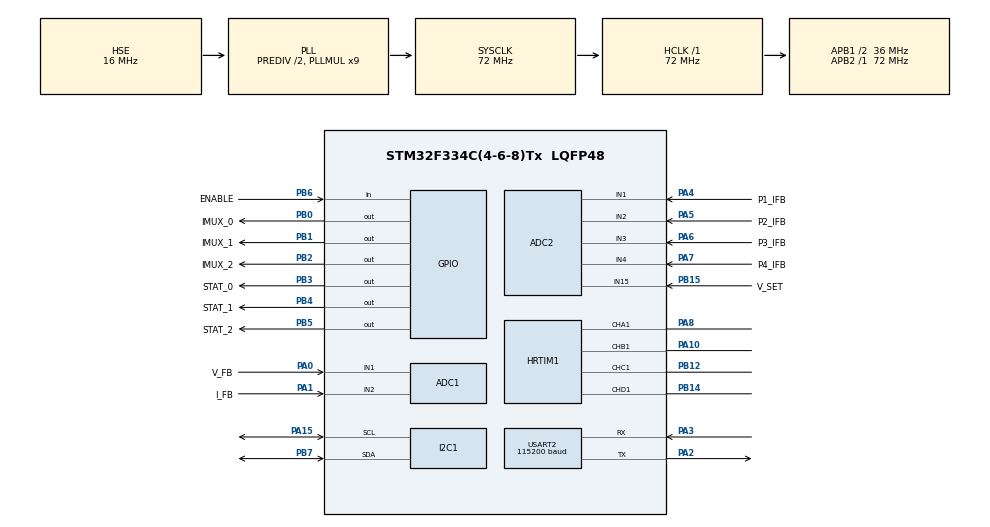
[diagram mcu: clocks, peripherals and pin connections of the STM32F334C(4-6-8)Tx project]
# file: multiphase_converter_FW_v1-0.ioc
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ADC1.Channel-10\#ChannelRegularConversion=ADC_CHANNEL_2
ADC1.Channel-9\#ChannelRegularConversion=ADC_CHANNEL_1
ADC1.ClockPrescaler=ADC_CLOCK_ASYNC_DIV1
ADC1.DMAContinuousRequests=ENABLE
ADC1.DiscontinuousConvMode=ENABLE
ADC1.EOCSelection=ADC_EOC_SEQ_CONV
ADC1.EnableInjectedConversion=DISABLE
ADC1.EnableRegularConversion=ENABLE
ADC1.ExternalTrigConv=ADC_EXTERNALTRIGCONVHRTIM_TRG1
ADC1.Mode=ADC_MODE_INDEPENDENT
ADC1.NbrOfConversion=2
ADC1.NbrOfConversionFlag=1
ADC1.Offset-10\#ChannelRegularConversion=0
ADC1.Offset-9\#ChannelRegularConversion=0
ADC1.OffsetNumber-10\#ChannelRegularConversion=ADC_OFFSET_NONE
ADC1.OffsetNumber-9\#ChannelRegularConversion=ADC_OFFSET_NONE
ADC1.Rank-10\#ChannelRegularConversion=2
ADC1.Rank-9\#ChannelRegularConversion=1
ADC1.SamplingTime-10\#ChannelRegularConversion=ADC_SAMPLETIME_1CYCLE_5
ADC1.SamplingTime-9\#ChannelRegularConversion=ADC_SAMPLETIME_1CYCLE_5
ADC1.SubFamily=STM32F334x8
ADC1.master=1
ADC2.Channel-0\#ChannelRegularConversion=ADC_CHANNEL_1
ADC2.Channel-1\#ChannelRegularConversion=ADC_CHANNEL_2
ADC2.Channel-2\#ChannelRegularConversion=ADC_CHANNEL_3
ADC2.Channel-3\#ChannelRegularConversion=ADC_CHANNEL_4
ADC2.Channel-4\#ChannelRegularConversion=ADC_CHANNEL_15
ADC2.ContinuousConvMode=DISABLE
ADC2.DMAContinuousRequests=ENABLE
ADC2.DiscontinuousConvMode=ENABLE
ADC2.EOCSelection=ADC_EOC_SEQ_CONV
ADC2.EnableInjectedConversion=DISABLE
ADC2.ExternalTrigConv=ADC_EXTERNALTRIGCONVHRTIM_TRG3
ADC2.NbrOfConversion=5
ADC2.NbrOfConversionFlag=1
ADC2.Offset-0\#ChannelRegularConversion=0
ADC2.Offset-1\#ChannelRegularConversion=0
ADC2.Offset-2\#ChannelRegularConversion=0
ADC2.Offset-3\#ChannelRegularConversion=0
ADC2.Offset-4\#ChannelRegularConversion=0
ADC2.OffsetNumber-0\#ChannelRegularConversion=ADC_OFFSET_NONE
ADC2.OffsetNumber-1\#ChannelRegularConversion=ADC_OFFSET_NONE
ADC2.OffsetNumber-2\#ChannelRegularConversion=ADC_OFFSET_NONE
ADC2.OffsetNumber-3\#ChannelRegularConversion=ADC_OFFSET_NONE
ADC2.OffsetNumber-4\#ChannelRegularConversion=ADC_OFFSET_NONE
ADC2.Rank-0\#ChannelRegularConversion=1
ADC2.Rank-1\#ChannelRegularConversion=2
ADC2.Rank-2\#ChannelRegularConversion=3
ADC2.Rank-3\#ChannelRegularConversion=4
ADC2.Rank-4\#ChannelRegularConversion=5
ADC2.SamplingTime-0\#ChannelRegularConversion=ADC_SAMPLETIME_1CYCLE_5
ADC2.SamplingTime-1\#ChannelRegularConversion=ADC_SAMPLETIME_1CYCLE_5
ADC2.SamplingTime-2\#ChannelRegularConversion=ADC_SAMPLETIME_1CYCLE_5
ADC2.SamplingTime-3\#ChannelRegularConversion=ADC_SAMPLETIME_1CYCLE_5
ADC2.SamplingTime-4\#ChannelRegularConversion=ADC_SAMPLETIME_1CYCLE_5
ADC2.SamplingTimeOPAMP-1\#ChannelRegularConversion=ADC_SAMPLETIME_61CYCLES_5
ADC2.SamplingTimeOPAMP-2\#ChannelRegularConversion=ADC_SAMPLETIME_61CYCLES_5
ADC2.SamplingTimeOPAMP-3\#ChannelRegularConversion=ADC_SAMPLETIME_61CYCLES_5
ADC2.SamplingTimeOPAMP-4\#ChannelRegularConversion=ADC_SAMPLETIME_61CYCLES_5
ADC2.SubFamily=STM32F334x8
Dma.ADC1.0.Direction=DMA_PERIPH_TO_MEMORY
Dma.ADC1.0.Instance=DMA1_Channel1
Dma.ADC1.0.MemDataAlignment=DMA_MDATAALIGN_WORD
Dma.ADC1.0.MemInc=DMA_MINC_ENABLE
Dma.ADC1.0.Mode=DMA_CIRCULAR
Dma.ADC1.0.PeriphDataAlignment=DMA_PDATAALIGN_WORD
Dma.ADC1.0.PeriphInc=DMA_PINC_DISABLE
Dma.ADC1.0.Priority=DMA_PRIORITY_LOW
Dma.ADC2.1.Direction=DMA_PERIPH_TO_MEMORY
Dma.ADC2.1.Instance=DMA1_Channel2
Dma.ADC2.1.MemDataAlignment=DMA_MDATAALIGN_WORD
Dma.ADC2.1.MemInc=DMA_MINC_ENABLE
Dma.ADC2.1.Mode=DMA_CIRCULAR
Dma.ADC2.1.PeriphDataAlignment=DMA_PDATAALIGN_WORD
Dma.ADC2.1.PeriphInc=DMA_PINC_DISABLE
Dma.ADC2.1.Priority=DMA_PRIORITY_LOW
Dma.Request0=ADC1
Dma.Request1=ADC2
HRTIM1.ADCTrigger1_Source1=HRTIM_ADCTRIGGEREVENT13_MASTER_CMP4
HRTIM1.ADCTrigger3_Source1=HRTIM_ADCTRIGGEREVENT13_MASTER_PERIOD
HRTIM1.ADCTrigger_Id1=HRTIM_ADCTRIGGER_1
HRTIM1.ADCTrigger_Id3=HRTIM_ADCTRIGGER_3
HRTIM1.CalibrationRate_nonIT=HRTIM_CALIBRATIONRATE_7300
HRTIM1.CompareUnit1-MasterTimer=HRTIM_COMPAREUNIT_1
HRTIM1.CompareUnit1-Output_TA1=HRTIM_COMPAREUNIT_1
HRTIM1.CompareUnit1-Output_TB1=HRTIM_COMPAREUNIT_1
HRTIM1.CompareUnit1-Output_TC1=HRTIM_COMPAREUNIT_1
HRTIM1.CompareUnit1-Output_TD1=HRTIM_COMPAREUNIT_1
HRTIM1.CompareUnit2-MasterTimer=HRTIM_COMPAREUNIT_2
HRTIM1.CompareUnit2-Output_TA1=HRTIM_COMPAREUNIT_2
HRTIM1.CompareUnit3-MasterTimer=HRTIM_COMPAREUNIT_3
HRTIM1.CompareUnit4-MasterTimer=HRTIM_COMPAREUNIT_4
HRTIM1.CompareValue1-MasterTimer=256
HRTIM1.CompareValue1-Output_TA1=0x1fff
HRTIM1.CompareValue1-Output_TB1=0x1FFF
HRTIM1.CompareValue1-Output_TC1=0x1FFF
HRTIM1.CompareValue1-Output_TD1=0x1FFF
HRTIM1.CompareValue2-MasterTimer=512
HRTIM1.CompareValue2-Output_TA1=0x2FFF
HRTIM1.CompareValue3-MasterTimer=768
HRTIM1.CompareValue4-MasterTimer=1024
HRTIM1.InterruptRequests1-Output_TA1=HRTIM_TIM_IT_CMP2
HRTIM1.InterruptRequests1_Master=HRTIM_MASTER_IT_MREP
HRTIM1.ModeTimeBase-Output_TA1=HRTIM_MODE_SINGLESHOT_RETRIGGERABLE
HRTIM1.ModeTimeBase-Output_TB1=HRTIM_MODE_SINGLESHOT_RETRIGGERABLE
HRTIM1.ModeTimeBase-Output_TC1=HRTIM_MODE_SINGLESHOT_RETRIGGERABLE
HRTIM1.ModeTimeBase-Output_TD1=HRTIM_MODE_SINGLESHOT_RETRIGGERABLE
HRTIM1.NumberADCTriggerSource1=1
HRTIM1.NumberADCTriggerSource3=1
HRTIM1.NumberInterruptRequests-Output_TA1=0
HRTIM1.NumberInterruptRequests_Master-MasterTimer=1
HRTIM1.NumberResetSource1-Output_TA1=1
HRTIM1.NumberResetSource1-Output_TB1=1
HRTIM1.NumberResetSource1-Output_TC1=1
HRTIM1.NumberResetSource1-Output_TD1=1
HRTIM1.NumberResetTrigger-Output_TA1=1
HRTIM1.NumberResetTrigger-Output_TB1=1
HRTIM1.NumberResetTrigger-Output_TC1=1
HRTIM1.NumberResetTrigger-Output_TD1=1
HRTIM1.NumberSetSource1-Output_TA1=1
HRTIM1.NumberSetSource1-Output_TB1=1
HRTIM1.NumberSetSource1-Output_TC1=1
HRTIM1.NumberSetSource1-Output_TD1=1
HRTIM1.NumberUpdateTrigger-Output_TA1=1
HRTIM1.NumberUpdateTrigger-Output_TB1=1
HRTIM1.NumberUpdateTrigger-Output_TC1=1
HRTIM1.NumberUpdateTrigger-Output_TD1=1
HRTIM1.ORingUpdateSource_ADCTrigger1=HRTIM_ADCTRIGGERUPDATE_MASTER
HRTIM1.Periode_MASTER=0x3fff
HRTIM1.Periode_TA=0x3fff
HRTIM1.Periode_TB=0x3fff
HRTIM1.Periode_TC=0x3fff
HRTIM1.Periode_TD=0x3fff
HRTIM1.PreloadEnable-MasterTimer=HRTIM_PRELOAD_ENABLED
HRTIM1.PreloadEnable-Output_TA1=HRTIM_PRELOAD_ENABLED
HRTIM1.PreloadEnable-Output_TB1=HRTIM_PRELOAD_DISABLED
HRTIM1.PreloadEnable-Output_TC1=HRTIM_PRELOAD_DISABLED
HRTIM1.PreloadEnable-Output_TD1=HRTIM_PRELOAD_DISABLED
HRTIM1.PrescalerRatio_MASTER=HRTIM_PRESCALERRATIO_MUL32
HRTIM1.RepetitionCounter-MasterTimer=16
HRTIM1.RepetitionCounter-Output_TA1=0
HRTIM1.RepetitionCounter-Output_TB1=0
HRTIM1.RepetitionCounter-Output_TC1=0
HRTIM1.RepetitionCounter-Output_TD1=0
HRTIM1.RepetitionUpdate-MasterTimer=HRTIM_UPDATEONREPETITION_ENABLED
HRTIM1.RepetitionUpdate-Output_TA1=HRTIM_UPDATEONREPETITION_DISABLED
HRTIM1.RepetitionUpdate-Output_TB1=HRTIM_UPDATEONREPETITION_DISABLED
HRTIM1.RepetitionUpdate-Output_TC1=HRTIM_UPDATEONREPETITION_DISABLED
HRTIM1.RepetitionUpdate-Output_TD1=HRTIM_UPDATEONREPETITION_DISABLED
HRTIM1.ResetOutput1_Source1-Output_TA1=HRTIM_OUTPUTRESET_TIMCMP1
HRTIM1.ResetOutput1_Source1-Output_TB1=HRTIM_OUTPUTRESET_TIMCMP1
HRTIM1.ResetOutput1_Source1-Output_TC1=HRTIM_OUTPUTRESET_TIMCMP1
HRTIM1.ResetOutput1_Source1-Output_TD1=HRTIM_OUTPUTRESET_TIMCMP1
HRTIM1.ResetTrigger1-Output_TA1=HRTIM_TIMRESETTRIGGER_MASTER_PER
HRTIM1.ResetTrigger1-Output_TB1=HRTIM_TIMRESETTRIGGER_MASTER_CMP1
HRTIM1.ResetTrigger1-Output_TC1=HRTIM_TIMRESETTRIGGER_MASTER_CMP2
HRTIM1.ResetTrigger1-Output_TD1=HRTIM_TIMRESETTRIGGER_MASTER_CMP3
HRTIM1.SetOutput1_Source1-Output_TA1=HRTIM_OUTPUTSET_MASTERPER
HRTIM1.SetOutput1_Source1-Output_TB1=HRTIM_OUTPUTSET_MASTERCMP1
HRTIM1.SetOutput1_Source1-Output_TC1=HRTIM_OUTPUTSET_MASTERCMP2
HRTIM1.SetOutput1_Source1-Output_TD1=HRTIM_OUTPUTSET_MASTERCMP3
HRTIM1.UpdateTrigger1-Output_TA1=HRTIM_TIMUPDATETRIGGER_MASTER
HRTIM1.UpdateTrigger1-Output_TB1=HRTIM_TIMUPDATETRIGGER_MASTER
HRTIM1.UpdateTrigger1-Output_TC1=HRTIM_TIMUPDATETRIGGER_MASTER
HRTIM1.UpdateTrigger1-Output_TD1=HRTIM_TIMUPDATETRIGGER_MASTER
I2C1.OwnAddress=0x5A
Mcu.Family=STM32F3
Mcu.Name=STM32F334C(4-6-8)Tx
Mcu.Package=LQFP48
NVIC.ADC1_2_IRQn=true\:0\:0\:false\:false\:true\:true\:true
NVIC.DMA1_Channel1_IRQn=true\:0\:0\:false\:false\:true\:false\:true
NVIC.DMA1_Channel2_IRQn=true\:0\:0\:false\:false\:true\:false\:true
NVIC.HRTIM1_Master_IRQn=true\:0\:0\:false\:false\:true\:true\:true
NVIC.HRTIM1_TIMA_IRQn=true\:0\:0\:false\:false\:true\:true\:true
NVIC.I2C1_EV_IRQn=true\:0\:0\:false\:false\:true\:true\:true
NVIC.PriorityGroup=NVIC_PRIORITYGROUP_4
NVIC.TIM1_UP_TIM16_IRQn=true\:0\:0\:false\:false\:true\:false\:true
NVIC.TimeBase=TIM1_UP_TIM16_IRQn
NVIC.TimeBaseIP=TIM1
NVIC.USART2_IRQn=true\:0\:0\:false\:false\:true\:true\:true
PA0.GPIO_Label=V_FB
PA0.Mode=IN1-Single-Ended
PA0.Signal=ADC1_IN1
PA1.GPIO_Label=I_FB
PA1.Mode=IN2-Single-Ended
PA1.Signal=ADC1_IN2
PA10.Mode=Output_TB1
PA10.Signal=HRTIM1_CHB1
PA13.Mode=Serial_Wire
PA13.Signal=SYS_JTMS-SWDIO
PA14.Mode=Serial_Wire
PA14.Signal=SYS_JTCK-SWCLK
PA15.Mode=I2C
PA15.Signal=I2C1_SCL
PA2.Mode=Asynchronous
PA2.Signal=USART2_TX
PA3.Mode=Asynchronous
PA3.Signal=USART2_RX
PA4.GPIO_Label=P1_IFB
PA4.Mode=IN1-Single-Ended
PA4.Signal=ADC2_IN1
PA5.GPIO_Label=P2_IFB
PA5.Mode=IN2-Single-Ended
PA5.Signal=ADC2_IN2
PA6.GPIO_Label=P3_IFB
PA6.Mode=IN3-Single-Ended
PA6.Signal=ADC2_IN3
PA7.GPIO_Label=P4_IFB
PA7.Mode=IN4-Single-Ended
PA7.Signal=ADC2_IN4
PA8.Mode=Output_TA1
PA8.Signal=HRTIM1_CHA1
PB0.GPIO_Label=IMUX_0
PB0.GPIO_Speed=GPIO_SPEED_FREQ_HIGH
PB0.Signal=GPIO_Output
PB1.GPIO_Label=IMUX_1
PB1.GPIO_Speed=GPIO_SPEED_FREQ_HIGH
PB1.Signal=GPIO_Output
PB12.Mode=Output_TC1
PB12.Signal=HRTIM1_CHC1
PB14.Mode=Output_TD1
PB14.Signal=HRTIM1_CHD1
PB15.GPIO_Label=V_SET
PB15.GPIO_PuPd=GPIO_NOPULL
PB15.Mode=IN15-Single-Ended
PB15.Signal=ADC2_IN15
PB2.GPIO_Label=IMUX_2
PB2.GPIO_Speed=GPIO_SPEED_FREQ_HIGH
PB2.Signal=GPIO_Output
PB3.GPIO_Label=STAT_0
PB3.GPIO_Speed=GPIO_SPEED_FREQ_HIGH
PB3.Signal=GPIO_Output
PB4.GPIO_Label=STAT_1
PB4.GPIO_Speed=GPIO_SPEED_FREQ_HIGH
PB4.Signal=GPIO_Output
PB5.GPIO_Label=STAT_2
PB5.GPIO_Speed=GPIO_SPEED_FREQ_HIGH
PB5.Signal=GPIO_Output
PB6.GPIO_Label=ENABLE
PB6.GPIO_PuPd=GPIO_NOPULL
PB6.Signal=GPIO_Input
PB7.Mode=I2C
PB7.Signal=I2C1_SDA
PF0\ /\ OSC_IN.Mode=HSE-External-Oscillator
PF0\ /\ OSC_IN.Signal=RCC_OSC_IN
PF1\ /\ OSC_OUT.Mode=HSE-External-Oscillator
PF1\ /\ OSC_OUT.Signal=RCC_OSC_OUT
ProjectManager.HeapSize=0x200
ProjectManager.StackSize=0x400
ProjectManager.TargetToolchain=Makefile
RCC.AHBFreq_Value=72000000
RCC.APB1CLKDivider=RCC_HCLK_DIV2
RCC.APB1Freq_Value=36000000
RCC.APB1TimFreq_Value=72000000
RCC.APB2Freq_Value=72000000
RCC.APB2TimFreq_Value=72000000
RCC.CortexFreq_Value=72000000
RCC.HCLKFreq_Value=72000000
RCC.HRTIMSelection=RCC_HRTIM1CLK_PLLCLK
RCC.HSE_VALUE=16000000
RCC.HSI_VALUE=8000000
RCC.LSE_VALUE=32768
RCC.PLLMUL=RCC_PLL_MUL9
RCC.PLLSourceVirtual=RCC_PLLSOURCE_HSE
RCC.RCC_PLLsource_Clock_Source_FROM_HSE=RCC_HSE_PREDIV_DIV2
RCC.SYSCLKFreq_VALUE=72000000
RCC.SYSCLKSourceVirtual=RCC_SYSCLKSOURCE_PLLCLK
USART2.BaudRate=115200
USART2.VirtualMode-Asynchronous=VM_ASYNC
VP_HRTIM1_VS_hrtimMasterTimerNoOutput.Mode=MasterTimer
VP_SYS_VS_tim1.Mode=TIM1
board=custom

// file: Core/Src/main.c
/* USER CODE BEGIN Header */
/**
  ******************************************************************************
  * @file           : main.c
  * @brief          : Main program body
  ******************************************************************************
  * @attention
  *
  * <h2><center>&copy; Copyright (c) 2020 STMicroelectronics.
  * All rights reserved.</center></h2>
  *
  * This software component is licensed by ST under BSD 3-Clause license,
  * the "License"; You may not use this file except in compliance with the
  * License. You may obtain a copy of the License at:
  *                        opensource.org/licenses/BSD-3-Clause
  *
  ******************************************************************************
  */
/* USER CODE END Header */
#include "main.h"
#include "adc.h"
#include "dma.h"
#include "hrtim.h"
#include "hrtim.h"
#include "i2c.h"
#include "usart.h"
#include "gpio.h"

/* USER CODE BEGIN Includes */
#include "printf.h"
#include <stdbool.h>
/* USER CODE END Includes */

/* USER CODE BEGIN PD */
#define DEBUG_SIZE                        128
#define START_STATE                       OUTPUT_OFF
#define ADC1_CONVERTEDVALUES_BUFFER_SIZE  ((uint32_t)   2)
#define ADC2_CONVERTEDVALUES_BUFFER_SIZE  ((uint32_t)   5)
#define VREF_MV                           2500
#define VOUT_DIV                          20
#define VOUT_MAX_MV                       50000
#define VOUT_SAMPLE_DEPTH                 4
#define HRTIM_PERIOD                      0x3fff
#define BURST_DUTY_CYCLE                  HRTIM_PERIOD/40
#define MAX_DUTY                          ((HRTIM_PERIOD/2) - 10)
#define MIN_DUTY                          128
#define ADD_PHASE_THRESH                  HRTIM_PERIOD/8
#define ADD_PHASE_CURR_THRESH             2000
#define SHED_PHASE_THRESH                 HRTIM_PERIOD/20
#define SHED_PHASE_CURR_THRESH            1500
#define KP_1                              4
#define KP_2                              KP_1
#define KP_3                              KP_1
#define KP_4                              KP_1
#define KP_LIGHT_LOAD                     100
#define KI_1                              250
#define KI_LIGHT_LOAD                     25000
#define KD_1                              2
#define VINTEG_MAX                        HRTIM_PERIOD*KI_1
#define KP                                30
#define SS_SLOPE_V_PER_S                  50
#define IOUT_SAMPLE_DEPTH                 8
#define IPHASE_SAMPLE_DEPTH               8
#define DEFAULT_V_SET                     12000
#define ALLOWABLE_ERROR                   10

#define VERR_RUNNING_MEAN_SIZE            4

#define I2C_DATA_SIZE                     8
#define I2C_CMD_SET_VOUT                  0x01
#define I2C_CMD_ENABLE_OUTPUT             0x02
#define I2C_CMD_DISABLE_OUTPUT            0x03

/* gains in counts-per-A */
#define IGAIN3                            123
#define IGAIN2                            246
#define IGAIN1                            492
#define IGAIN0                            3686

#define CLAMP(x, a, b)                    (x < a ? a : (x > b ? b : x))

/* USER CODE END PD */

/* USER CODE BEGIN PV */
Mode_TypeDef state = OUTPUT_OFF;
__IO uint32_t adc1_converted_values[ADC1_CONVERTEDVALUES_BUFFER_SIZE];
__IO uint32_t adc2_converted_values[ADC2_CONVERTEDVALUES_BUFFER_SIZE];
volatile bool status_update       = false;
uint32_t ss_tick                  = 0;
volatile int n_phases             = 1; // number of phases enabled
uint32_t vout_sample_buf[VOUT_SAMPLE_DEPTH];
volatile int kp                   = KP_1;
volatile int ki                   = KI_1;
volatile int kd                   = KD_1;
volatile int vinteg               = 0;
volatile int vdelta               = 0;
volatile int vout_sample_ind      = 0;
volatile uint32_t vout_sample_acc = 0;
volatile int verr_acc             = 0;
volatile uint32_t verr_history[VERR_RUNNING_MEAN_SIZE] = {};
volatile int verr_rm_ind          = 0;
volatile uint32_t vout_offset_mv  = 2000;
volatile uint32_t vout_mv         = 0;
volatile uint32_t vset_mv         = 0;
volatile uint32_t target_vset_acc = 0;
volatile int target_vset_count    = 0;
volatile uint32_t target_vset_mv  = DEFAULT_V_SET;
volatile int verr_mv              = 0;
volatile int duty_cycle           = 0;
volatile bool is_enabled          = false;
volatile int i_gain_setting       = 0; // 0 thru 3
volatile uint32_t i_gain          = 0; // i sense gain in counts-per-A
volatile uint32_t iout_ma         = 0;
volatile uint32_t iout_offset_ma  = 0;
volatile uint32_t iout_sample_acc = 0;
volatile int iout_sample_count    = 0;
volatile uint32_t iphase_accs[4]  = {};
volatile uint32_t iphase_meas[4]  = {};
volatile int iphase_sample_count  = 0;
int debug_a_size = 0;
int debug_b_size = 0;
int debug_buf_to_use = 0;
uint8_t debug_buf[DEBUG_SIZE];
uint8_t debug_buf_a[DEBUG_SIZE];
uint8_t debug_buf_b[DEBUG_SIZE];
volatile bool i2c_enabled_status = false;
volatile bool i2c_cmd_rcvd = false;
uint8_t i2c_data[I2C_DATA_SIZE];

/* USER CODE END PV */

void SystemClock_Config(void);
/* USER CODE BEGIN PFP */

void goto_state(uint8_t next_state);
void set_i_gain(uint8_t setting);
void refactor_duty_cycle();
uint32_t map(uint32_t x, uint32_t in_min, uint32_t in_max, uint32_t out_min, uint32_t out_max);
void LED_on(int led);
void LED_off(int led);
void LED_toggle(int led);
void add_sample(uint32_t sample, uint32_t* buf, int* sample_ind, int depth);
void disable_adc_interrupts();
void enable_adc_interrupts();
void disable_hrtim_interrupts();
void enable_hrtim_interrupts();
void debug(char* str);

/* USER CODE END PFP */

int main(void)
{

  /* MCU Configuration--------------------------------------------------------*/

  /* Reset of all peripherals, Initializes the Flash interface and the Systick. */
  HAL_Init();

  /* Configure the system clock */
  SystemClock_Config();

  /* Initialize all configured peripherals */
  MX_GPIO_Init();
  MX_DMA_Init();
  MX_HRTIM1_Init();
  MX_ADC1_Init();
  MX_I2C1_Init();
  MX_USART2_UART_Init();
  MX_ADC2_Init();
  /* USER CODE BEGIN 2 */

  state = START_STATE;
  i_gain_setting = 0;
  set_i_gain(i_gain_setting);

  /* ------------ */
  /* ADC start-up */
  /* ------------ */
  // ADC1
  if(HAL_ADCEx_Calibration_Start(&hadc1, ADC_SINGLE_ENDED) != HAL_OK){
    debug("ADC1 calibration failed. Entering FAULT state.");
    state = FAULT;
  }
  HAL_ADC_Start_DMA(&hadc1, adc1_converted_values, ADC1_CONVERTEDVALUES_BUFFER_SIZE);
  HAL_ADC_Start(&hadc1);

  // ADC2
  if(HAL_ADCEx_Calibration_Start(&hadc2, ADC_SINGLE_ENDED) != HAL_OK){
    debug("ADC2 calibration failed. Entering FAULT state.");
    state = FAULT;
  }
  HAL_ADC_Start_DMA(&hadc2, adc2_converted_values, ADC2_CONVERTEDVALUES_BUFFER_SIZE);
  HAL_ADC_Start(&hadc2);

  /* -------------- */
  /* HRTIM start-up */
  /* -------------- */
  // enable outputs A1, B1, C1, D1
  // HAL_HRTIM_WaveformOutputStart(&hhrtim1, HRTIM_OUTPUT_TA1 | HRTIM_OUTPUT_TB1 | HRTIM_OUTPUT_TC1 | HRTIM_OUTPUT_TD1);

  // start timer master, A, B, C, D
  HAL_HRTIM_WaveformCountStart_IT(&hhrtim1, HRTIM_TIMERID_MASTER | HRTIM_TIMERID_TIMER_A | HRTIM_TIMERID_TIMER_B | HRTIM_TIMERID_TIMER_C | HRTIM_TIMERID_TIMER_D);

  /* ------------------ */
  /* I2C Slave start-up */
  /* ------------------ */
  HAL_I2C_Slave_Receive_IT(&hi2c1, i2c_data, 1); // receive a 1-byte command

  /* USER CODE END 2 */

  /* Infinite loop */
  while (1)
  {

    /* USER CODE BEGIN 3 */

    // DETECT ENABLE SIGNAL
    GPIO_PinState enable_pin = HAL_GPIO_ReadPin(ENABLE_GPIO_Port, ENABLE_Pin);
    if(enable_pin == GPIO_PIN_RESET && !is_enabled){
      debug("Enabling output\r\n");
      LED_on(0);
      is_enabled = true;
      vset_mv = 0;
      ss_tick = HAL_GetTick();
      duty_cycle = MIN_DUTY;
      state = ONE_PHASE_INIT;
    }else if(enable_pin == GPIO_PIN_SET && is_enabled){
      debug("Disabling output\r\n");
      LED_off(0);
      is_enabled = false;
      state = OUTPUT_OFF;
    }

    // main loop state machine
    // mostly for controlling vset_mv
    switch(state){
      case ONE_PHASE_INIT:
      case TWO_PHASE_INIT:
      case THREE_PHASE_INIT:
      case FOUR_PHASE_INIT:
      case ONE_PHASE:
      case TWO_PHASE:
      case THREE_PHASE:
      case FOUR_PHASE:
      case BURST:
      {
        // change vset_mv at a controlled rate

        uint32_t dt = HAL_GetTick() - ss_tick;
        int dv = SS_SLOPE_V_PER_S * dt; // maximum voltage step to take
        int diff = (int)target_vset_mv - (int)vset_mv; // actual difference to make up

        if(diff > dv){
          // increment by maximum step
          vset_mv += dv;
        }else{
          // just add the difference, since its magnitude is less than max step (dv)
          vset_mv += diff;
        }

        ss_tick += dt;
        break;
      }
      case FAULT:{
        // LED 2 SOLID
        LED_on(2);
        break;
      }default:{
        break;
      }
    };

    // PHASE CURRENT CALCULATION
    if(iphase_sample_count >= IPHASE_SAMPLE_DEPTH){
      for(int i = 0; i < n_phases; i++){
        iphase_meas[i] = ((iphase_accs[i] * VREF_MV) / iphase_sample_count) >> 12; // millivolts at the ADC input
        iphase_accs[i] = 0;
      }
      iphase_sample_count = 0;
    }

    // DEBUG OUTPUT
    if(HAL_GetTick()/250 % 2 == 0){
      if(status_update){
        snprintf(debug_buf, DEBUG_SIZE, "V:%6d; Vset:%6d; Target:%6d; Ph:%2d; I:%6d\r\n", vout_mv, vset_mv, target_vset_mv, n_phases, iout_ma);
        debug(debug_buf);
        // snprintf(debug_buf, DEBUG_SIZE, "Vset: %d;\t",vset_mv);
        // debug(debug_buf);
        // snprintf(debug_buf, DEBUG_SIZE, "Target: %d;\t", target_vset_mv);
        // debug(debug_buf);
        // snprintf(debug_buf, DEBUG_SIZE, "Ph: %d\r\n", n_phases);
        // debug(debug_buf);
        status_update = false;
      }
    }else{
      status_update = true;
    }

    // HEARTBEAT
    if(HAL_GetTick()/1000 % 2 == 0){
      LED_on(2);
    }else{
      LED_off(2);
    }

    HAL_Delay(10);
  }
  /* USER CODE END 3 */
}

void SystemClock_Config(void)
{
  RCC_OscInitTypeDef RCC_OscInitStruct = {0};
  RCC_ClkInitTypeDef RCC_ClkInitStruct = {0};
  RCC_PeriphCLKInitTypeDef PeriphClkInit = {0};

  /** Initializes the RCC Oscillators according to the specified parameters
  * in the RCC_OscInitTypeDef structure.
  */
  RCC_OscInitStruct.OscillatorType = RCC_OSCILLATORTYPE_HSI|RCC_OSCILLATORTYPE_HSE;
  RCC_OscInitStruct.HSEState = RCC_HSE_ON;
  RCC_OscInitStruct.HSEPredivValue = RCC_HSE_PREDIV_DIV2;
  RCC_OscInitStruct.HSIState = RCC_HSI_ON;
  RCC_OscInitStruct.HSICalibrationValue = RCC_HSICALIBRATION_DEFAULT;
  RCC_OscInitStruct.PLL.PLLState = RCC_PLL_ON;
  RCC_OscInitStruct.PLL.PLLSource = RCC_PLLSOURCE_HSE;
  RCC_OscInitStruct.PLL.PLLMUL = RCC_PLL_MUL9;
  if (HAL_RCC_OscConfig(&RCC_OscInitStruct) != HAL_OK)
  {
    Error_Handler();
  }
  /** Initializes the CPU, AHB and APB buses clocks
  */
  RCC_ClkInitStruct.ClockType = RCC_CLOCKTYPE_HCLK|RCC_CLOCKTYPE_SYSCLK
                              |RCC_CLOCKTYPE_PCLK1|RCC_CLOCKTYPE_PCLK2;
  RCC_ClkInitStruct.SYSCLKSource = RCC_SYSCLKSOURCE_PLLCLK;
  RCC_ClkInitStruct.AHBCLKDivider = RCC_SYSCLK_DIV1;
  RCC_ClkInitStruct.APB1CLKDivider = RCC_HCLK_DIV2;
  RCC_ClkInitStruct.APB2CLKDivider = RCC_HCLK_DIV1;

  if (HAL_RCC_ClockConfig(&RCC_ClkInitStruct, FLASH_LATENCY_2) != HAL_OK)
  {
    Error_Handler();
  }
  PeriphClkInit.PeriphClockSelection = RCC_PERIPHCLK_HRTIM1|RCC_PERIPHCLK_I2C1
                              |RCC_PERIPHCLK_ADC12;
  PeriphClkInit.Adc12ClockSelection = RCC_ADC12PLLCLK_DIV1;
  PeriphClkInit.I2c1ClockSelection = RCC_I2C1CLKSOURCE_HSI;
  PeriphClkInit.Hrtim1ClockSelection = RCC_HRTIM1CLK_PLLCLK;
  if (HAL_RCCEx_PeriphCLKConfig(&PeriphClkInit) != HAL_OK)
  {
    Error_Handler();
  }
}

/* USER CODE BEGIN 4 */

void HAL_HRTIM_RepetitionEventCallback(HRTIM_HandleTypeDef * hhrtim,
                                              uint32_t TimerIdx)
{
  LED_toggle(1);
  if(TimerIdx == HRTIM_TIMERINDEX_MASTER){

    // only run feedback loop if required
    if(state != OUTPUT_OFF && state != FAULT && state != BURST){
      disable_adc_interrupts();
      refactor_duty_cycle();
      enable_adc_interrupts();
    }

    uint32_t duty = 0; // duty cycle per phase
    // if(n_phases > 0){
    //   duty = duty_cycle / n_phases;
    // }else{
    //   duty = duty_cycle;
    // }
    // clamp per-phase duty cycle
    duty = CLAMP(duty_cycle, MIN_DUTY, MAX_DUTY);

    // BEGIN STATE MACHINE
    switch (state)
    {
    case ONE_PHASE_INIT:{
      n_phases = 1;
      kp = KP_1;
      memset(iphase_accs, 0, sizeof(uint32_t) * n_phases); // phase current accumulator reset
      iphase_sample_count = 0;
      HAL_HRTIM_WaveformOutputStop(&hhrtim1, HRTIM_OUTPUT_TB1 | HRTIM_OUTPUT_TC1 | HRTIM_OUTPUT_TD1);
      hhrtim1.Instance->sTimerxRegs[HRTIM_TIMERINDEX_TIMER_A].CMP1xR = duty;
      hhrtim1.Instance->sMasterRegs.MCMP4R = duty / 2; // ADC interrupt timing, halfway through first phase
      HAL_HRTIM_WaveformOutputStart(&hhrtim1, HRTIM_OUTPUT_TA1);
      state = ONE_PHASE; // goto 1 phase state
      break;

    }case TWO_PHASE_INIT:{
      n_phases = 2;
      kp = KP_2;
      memset(iphase_accs, 0, sizeof(uint32_t) * n_phases); // phase current accumulator reset
      iphase_sample_count = 0;
      HAL_HRTIM_WaveformOutputStop(&hhrtim1, HRTIM_OUTPUT_TC1 | HRTIM_OUTPUT_TD1);
      hhrtim1.Instance->sMasterRegs.MCMP1R = HRTIM_PERIOD / 2; // interrupt to set second phase

      hhrtim1.Instance->sMasterRegs.MCMP4R = duty / 2; // ADC interrupt timing, halfway through first phase
      hhrtim1.Instance->sTimerxRegs[HRTIM_TIMERINDEX_TIMER_A].CMP1xR = duty;
      hhrtim1.Instance->sTimerxRegs[HRTIM_TIMERINDEX_TIMER_B].CMP1xR = duty;
      HAL_HRTIM_WaveformOutputStart(&hhrtim1, HRTIM_OUTPUT_TA1 | HRTIM_OUTPUT_TB1);
      state = TWO_PHASE; // goto 2 phase state
      break;

    }case THREE_PHASE_INIT:{
      n_phases = 3;
      kp = KP_3;
      memset(iphase_accs, 0, sizeof(uint32_t) * n_phases); // phase current accumulator reset
      iphase_sample_count = 0;
      HAL_HRTIM_WaveformOutputStop(&hhrtim1, HRTIM_OUTPUT_TD1);
      hhrtim1.Instance->sMasterRegs.MCMP1R = HRTIM_PERIOD / 3; // interrupt to set second phase
      hhrtim1.Instance->sMasterRegs.MCMP2R = 2 * (HRTIM_PERIOD / 3); // interrupt to set third phase
      hhrtim1.Instance->sMasterRegs.MCMP4R = duty / 2; // ADC interrupt timing, halfway through first phase

      hhrtim1.Instance->sTimerxRegs[HRTIM_TIMERINDEX_TIMER_A].CMP1xR = duty;
      hhrtim1.Instance->sTimerxRegs[HRTIM_TIMERINDEX_TIMER_B].CMP1xR = duty;
      hhrtim1.Instance->sTimerxRegs[HRTIM_TIMERINDEX_TIMER_C].CMP1xR = duty;
      HAL_HRTIM_WaveformOutputStart(&hhrtim1, HRTIM_OUTPUT_TA1 | HRTIM_OUTPUT_TB1 |  HRTIM_OUTPUT_TC1);

      state = THREE_PHASE; // goto 3 phase state
      break;

    }case FOUR_PHASE_INIT:{
      n_phases = 4;
      kp = KP_4;
      memset(iphase_accs, 0, sizeof(uint32_t) * n_phases); // phase current accumulator reset
      iphase_sample_count = 0;
      hhrtim1.Instance->sMasterRegs.MCMP1R = HRTIM_PERIOD / 4; // interrupt to set second phase
      hhrtim1.Instance->sMasterRegs.MCMP2R = 2 * (HRTIM_PERIOD / 4); // interrupt to set third phase
      hhrtim1.Instance->sMasterRegs.MCMP2R = 3 * (HRTIM_PERIOD / 4); // interrupt to set fourth phase
      hhrtim1.Instance->sMasterRegs.MCMP4R = duty / 2; // ADC interrupt timing, halfway through first phase
      // hhrtim1.Instance->sTimerxRegs[HRTIM_TIMERINDEX_MASTER].CMP4xR = duty / 2; // ADC interrupt timing, halfway through first phase
      hhrtim1.Instance->sTimerxRegs[HRTIM_TIMERINDEX_TIMER_A].CMP1xR = duty;
      hhrtim1.Instance->sTimerxRegs[HRTIM_TIMERINDEX_TIMER_B].CMP1xR = duty;
      hhrtim1.Instance->sTimerxRegs[HRTIM_TIMERINDEX_TIMER_C].CMP1xR = duty;
      hhrtim1.Instance->sTimerxRegs[HRTIM_TIMERINDEX_TIMER_D].CMP1xR = duty;
      HAL_HRTIM_WaveformOutputStart(&hhrtim1, HRTIM_OUTPUT_TA1 | HRTIM_OUTPUT_TB1 |  HRTIM_OUTPUT_TC1 | HRTIM_OUTPUT_TD1);

      state = FOUR_PHASE;
      break;

    }case ONE_PHASE:{
      hhrtim1.Instance->sTimerxRegs[HRTIM_TIMERINDEX_TIMER_A].CMP1xR = duty;

      hhrtim1.Instance->sMasterRegs.MCMP4R = duty / 2; // ADC interrupt timing, halfway through first phase
      // hhrtim1.Instance->sTimerxRegs[HRTIM_TIMERINDEX_MASTER].CMP4xR = duty_cycle / 2; // ADC interrupt timing, halfway through first phase

      if(iout_ma >= ADD_PHASE_CURR_THRESH){
        state = TWO_PHASE_INIT; // shift to two phases
      }
      // else if(iout_ma < 80){
      //   kp = KP_LIGHT_LOAD;
      //   ki = KI_LIGHT_LOAD;
      //   // state = BURST; // very light load, shift to burst mode
      // }else if(iout_ma > 100){
      //   kp = KP_1;
      //   ki = KI_1;
      // }

      break;

    }case TWO_PHASE:{
      hhrtim1.Instance->sTimerxRegs[HRTIM_TIMERINDEX_TIMER_A].CMP1xR = duty;
      hhrtim1.Instance->sTimerxRegs[HRTIM_TIMERINDEX_TIMER_B].CMP1xR = duty;

      hhrtim1.Instance->sMasterRegs.MCMP4R = duty / 2; // ADC interrupt timing, halfway through first phase
      // hhrtim1.Instance->sTimerxRegs[HRTIM_TIMERINDEX_MASTER].CMP4xR = duty / 2; // ADC interrupt timing, halfway through first phase

      if(iout_ma >= 2*ADD_PHASE_CURR_THRESH){
        state = THREE_PHASE_INIT;
      }else if(iout_ma < 2*SHED_PHASE_CURR_THRESH){
        // shed phase
        state = ONE_PHASE_INIT;
      }
      break;

    }case THREE_PHASE:{
      hhrtim1.Instance->sTimerxRegs[HRTIM_TIMERINDEX_TIMER_A].CMP1xR = duty;
      hhrtim1.Instance->sTimerxRegs[HRTIM_TIMERINDEX_TIMER_B].CMP1xR = duty;
      hhrtim1.Instance->sTimerxRegs[HRTIM_TIMERINDEX_TIMER_C].CMP1xR = duty;

      hhrtim1.Instance->sMasterRegs.MCMP4R = duty / 2; // ADC interrupt timing, halfway through first phase
      // hhrtim1.Instance->sTimerxRegs[HRTIM_TIMERINDEX_MASTER].CMP4xR = duty / 2; // ADC interrupt timing, halfway through first phase

      if(iout_ma >= 3*ADD_PHASE_CURR_THRESH){
        state = FOUR_PHASE_INIT;
      }else if(iout_ma < 3*SHED_PHASE_CURR_THRESH){
        // shed phase
        state = TWO_PHASE_INIT;
      }
      break;

    }case FOUR_PHASE:{
      hhrtim1.Instance->sTimerxRegs[HRTIM_TIMERINDEX_TIMER_A].CMP1xR = duty;
      hhrtim1.Instance->sTimerxRegs[HRTIM_TIMERINDEX_TIMER_B].CMP1xR = duty;
      hhrtim1.Instance->sTimerxRegs[HRTIM_TIMERINDEX_TIMER_C].CMP1xR = duty;
      hhrtim1.Instance->sTimerxRegs[HRTIM_TIMERINDEX_TIMER_D].CMP1xR = duty;

      hhrtim1.Instance->sMasterRegs.MCMP4R = duty / 2; // ADC interrupt timing, halfway through first phase
      // hhrtim1.Instance->sTimerxRegs[HRTIM_TIMERINDEX_MASTER].CMP4xR = duty / 2; // ADC interrupt timing, halfway through first phase

      if(iout_ma < 4*SHED_PHASE_CURR_THRESH){
        // shed phase
        state = THREE_PHASE_INIT;
      }
      break;

    }case BURST:{
      break;
      verr_mv = vset_mv - vout_mv;
      if(abs(verr_mv) > 2*ALLOWABLE_ERROR){
        // 50mV or more below setpoint, likely dropping out of regulation, so switch to single phase
        state = ONE_PHASE_INIT;
      }else if(verr_mv > ALLOWABLE_ERROR){
        // less than 50mV but more than 25mV below setpoint, so turn on phase
        hhrtim1.Instance->sTimerxRegs[HRTIM_TIMERINDEX_TIMER_A].CMP1xR = BURST_DUTY_CYCLE;
      }else if(verr_mv < -ALLOWABLE_ERROR){
        // 25mV or more above setpoint, turn off phase
        hhrtim1.Instance->sTimerxRegs[HRTIM_TIMERINDEX_TIMER_A].CMP1xR = MIN_DUTY;
      }
      // break;
    }case FAULT:
    case OUTPUT_OFF:{
      duty_cycle = MIN_DUTY;
      vset_mv = 0;
      n_phases = 0;
      hhrtim1.Instance->sTimerxRegs[HRTIM_TIMERINDEX_MASTER].CMP4xR = HRTIM_PERIOD / 2; // ADC interrupt timing, halfway through first phase
      HAL_HRTIM_WaveformOutputStop(&hhrtim1, HRTIM_OUTPUT_TA1 | HRTIM_OUTPUT_TB1 | HRTIM_OUTPUT_TC1 | HRTIM_OUTPUT_TD1);
      break;
    }
    default:{
      // this will catch the FAULT state too
      HAL_HRTIM_WaveformOutputStop(&hhrtim1, HRTIM_OUTPUT_TA1 | HRTIM_OUTPUT_TB1 | HRTIM_OUTPUT_TC1 | HRTIM_OUTPUT_TD1);
      break;
    }

    } //  end switch
    // END STATE MACHINE
  }
}
/**
 * On conversion complete, add to vout_sample_accumulator
 * After VOUT_SAMPLE_DEPTH many conversions, refactor duty cycle and set compare registers
 */
void HAL_ADC_ConvCpltCallback(ADC_HandleTypeDef* hadc){
  // is called by the ADC DMA ConvCplt callback

  if(hadc->Instance == ADC1){

    // pertains to the voltage or current measurements

    // add current measurment
    iout_sample_acc += adc1_converted_values[1];
    iout_sample_count++;
    if(iout_sample_count >= IOUT_SAMPLE_DEPTH){
      uint32_t iout_adc_value = iout_sample_acc / iout_sample_count;
      iout_ma = (1000 * iout_adc_value) / (i_gain);
      iout_ma -= iout_offset_ma;
      if(iout_adc_value >= 3890){
        // greater than 95% of full scale, shift to less sensitive gain setting if possible
        if(i_gain_setting < 3){
          i_gain_setting += 1;
          set_i_gain(i_gain_setting);
        }
      }else if(iout_adc_value < 205){
        // less than 5% of full scale, shift to more sensetive gain setting if possible
        if(i_gain_setting > 0){
          i_gain_setting -= 1;
          set_i_gain(i_gain_setting);
        }
      }
      iout_sample_count = 0;
      iout_sample_acc = 0;
    }

    // add voltage measurment
    // add_sample(adc1_converted_values[0], vout_sample_buf, &vout_sample_ind, VOUT_SAMPLE_DEPTH);
    vout_sample_acc += adc1_converted_values[0];
    vout_sample_ind++;
    if(vout_sample_ind >= VOUT_SAMPLE_DEPTH){
      // buffer filled with new data, time to refactor duty cycle
      vout_sample_ind = 0;

      disable_hrtim_interrupts();
      // calculate Vout in mv
      vout_mv = vout_sample_acc * VREF_MV * VOUT_DIV;
      vout_mv = vout_mv / VOUT_SAMPLE_DEPTH;
      vout_mv = vout_mv >> 12; // divide by 4096, as our ADC is 12 bit
      vout_mv -= vout_offset_mv;
      enable_hrtim_interrupts();
      vout_sample_acc = 0;

    }

  }else if(hadc->Instance == ADC2){
    // pertains to all the other stuff

    // indices 0 thru 3 are phase current 1 thru 4
    if(iphase_sample_count < IPHASE_SAMPLE_DEPTH){
      for(int i = 0; i < n_phases; i++){
        iphase_accs[i] += adc2_converted_values[i];
      }

      iphase_sample_count++;
    }

    /*
    target_vset_acc += adc2_converted_values[4];
    target_vset_count++;

    if(target_vset_count >= 8){
      target_vset_mv = ((target_vset_acc * VREF_MV)/target_vset_count) >> 12;
      target_vset_mv = map(target_vset_mv, 0, VREF_MV, 0, VOUT_MAX_MV);
      target_vset_acc = 0;
      target_vset_count = 0;
    }
    */

    // calculate the target setpoint

  }
  // LED_off(1);
}

void set_i_gain(uint8_t setting){

  switch(setting){
    case 0:
      i_gain = IGAIN0;
      break;
    case 1:
      i_gain = IGAIN1;
      break;
    case 2:
      i_gain = IGAIN2;
      break;
    case 3:
      i_gain = IGAIN3;
      break;
    default:
      setting = 3;
      i_gain = IGAIN3;
      break;
  };

  HAL_GPIO_WritePin(IMUX_0_GPIO_Port, IMUX_0_Pin, setting & 1);
  HAL_GPIO_WritePin(IMUX_1_GPIO_Port, IMUX_1_Pin, (setting >> 1) & 1);
  HAL_GPIO_WritePin(IMUX_2_GPIO_Port, IMUX_2_Pin, (setting >> 2) & 1);

}

void refactor_duty_cycle(){
  // PI-esque feedback loop
  verr_mv = (int)vset_mv - (int)vout_mv;
  // verr_history[verr_rm_ind++] = verr_mv;
  // if(verr_rm_ind >= VERR_RUNNING_MEAN_SIZE){
  //   vdelta = 0;
  //   int verr_mean = verr_acc / verr_rm_ind;
  //   for(int i = 0; i < verr_rm_ind - 1; i++){
  //     vdelta += verr_history[i + 1] - verr_history[i];
  //   }
  //   verr_rm_ind = 0;
  // }
  if(abs(verr_mv) < ALLOWABLE_ERROR){
    return;
  }
  vinteg += verr_mv;
  vinteg = CLAMP(vinteg, -MAX_DUTY*ki, MAX_DUTY*ki);
  duty_cycle = (verr_mv * kp) + vinteg / ki;// + vdelta / kd;
  duty_cycle = CLAMP(duty_cycle, MIN_DUTY*n_phases, MAX_DUTY*n_phases);
}

void add_sample(uint32_t sample, uint32_t* buf, int* sample_ind, int depth){
  *sample_ind++;
  if(*sample_ind >= depth){
    *sample_ind = 0;
  }
  buf[*sample_ind] = sample;
}

void disable_adc_interrupts(){
  HAL_NVIC_DisableIRQ(ADC1_2_IRQn);
}

void enable_adc_interrupts(){
  HAL_NVIC_EnableIRQ(ADC1_2_IRQn);
}

void disable_hrtim_interrupts(){
  HAL_NVIC_DisableIRQ(HRTIM1_Master_IRQn);
}

void enable_hrtim_interrupts(){
  HAL_NVIC_EnableIRQ(HRTIM1_Master_IRQn);
}

uint32_t map(uint32_t x, uint32_t in_min, uint32_t in_max, uint32_t out_min, uint32_t out_max){
  return (x - in_min) * (out_max - out_min) / (in_max - in_min) + out_min;
}

void LED_on(int led){
  switch (led)
  {
  case 0:
    // HAL_GPIO_WritePin(STAT_0_GPIO_Port, STAT_0_Pin, GPIO_PIN_SET);
    STAT_0_GPIO_Port->ODR |= STAT_0_Pin;
    break;
  case 1:
    // HAL_GPIO_WritePin(STAT_1_GPIO_Port, STAT_1_Pin, GPIO_PIN_SET);
    STAT_1_GPIO_Port->ODR |= STAT_1_Pin;
    break;
  case 2:
    // HAL_GPIO_WritePin(STAT_2_GPIO_Port, STAT_2_Pin, GPIO_PIN_SET);
    STAT_2_GPIO_Port->ODR |= STAT_2_Pin;
    break;
  default:
    break;
  }
}
void LED_off(int led){
switch (led)
  {
  case 0:
    // HAL_GPIO_WritePin(STAT_0_GPIO_Port, STAT_0_Pin, GPIO_PIN_RESET);
    STAT_0_GPIO_Port->ODR &= ~STAT_0_Pin;
    break;
  case 1:
    // HAL_GPIO_WritePin(STAT_1_GPIO_Port, STAT_1_Pin, GPIO_PIN_RESET);
    STAT_1_GPIO_Port->ODR &= ~STAT_1_Pin;
    break;
  case 2:
    // HAL_GPIO_WritePin(STAT_2_GPIO_Port, STAT_2_Pin, GPIO_PIN_RESET);
    STAT_2_GPIO_Port->ODR &= ~STAT_2_Pin;
    break;
  default:
    break;
  }
}
void LED_toggle(int led){
switch (led)
  {
  case 0:
    // HAL_GPIO_TogglePin(STAT_0_GPIO_Port, STAT_0_Pin);
    STAT_0_GPIO_Port->ODR ^= STAT_0_Pin;
    break;
  case 1:
    // HAL_GPIO_TogglePin(STAT_1_GPIO_Port, STAT_1_Pin);
    STAT_1_GPIO_Port->ODR ^= STAT_1_Pin;
    break;
  case 2:
    // HAL_GPIO_TogglePin(STAT_2_GPIO_Port, STAT_2_Pin);
    STAT_2_GPIO_Port->ODR ^= STAT_2_Pin;
    break;
  default:
    break;
  }
}

void debug(char* str){
  int len = strlen(str);

  if(debug_buf_to_use == 0){
    if(debug_a_size + len > DEBUG_SIZE){
      len = DEBUG_SIZE - debug_a_size; // max allowable length to append
    }
    memcpy(debug_buf_a + debug_a_size, str, len); // store new data
    debug_a_size += len;

    if(huart2.gState == HAL_UART_STATE_READY){
      debug_buf_to_use = 1;
      HAL_UART_Transmit_IT(&huart2, debug_buf_a, debug_a_size);
      debug_a_size = 0;
    }

  }else{
    if(debug_b_size + len > DEBUG_SIZE){
      len = DEBUG_SIZE - debug_b_size; // max allowable length to append
    }
    memcpy(debug_buf_b + debug_b_size, str, len); // store new data
    debug_b_size += len;

    if(huart2.gState == HAL_UART_STATE_READY){
      debug_buf_to_use = 0;
      HAL_UART_Transmit_IT(&huart2, debug_buf_b, debug_b_size);
      debug_b_size = 0;
    }
  }

}

void HAL_UART_TxCpltCallback(UART_HandleTypeDef *huart){
  if(debug_buf_to_use == 0 && debug_a_size > 0){
    debug_buf_to_use = 1; // indicate that buffer B should be filled while we send out buffer A
    HAL_UART_Transmit_IT(&huart2, debug_buf_a, debug_a_size); // transmit buffer a
    debug_a_size = 0;
  }else if(debug_buf_to_use == 1 && debug_b_size > 0){
    debug_buf_to_use = 0; // indicate that buffer A should be filled while we send out buffer B
    HAL_UART_Transmit_IT(&huart2, debug_buf_b, debug_b_size); // transmit buffer b
    debug_b_size = 0;
  }
}

void HAL_I2C_SlaveRxCpltCallback(I2C_HandleTypeDef *hi2c){
  // do I2C data reception things
  debug("I2C\r\n");
  switch(i2c_data[0]){
    case I2C_CMD_SET_VOUT:{
      if(!i2c_cmd_rcvd){
        // we received the command byte just now
        i2c_cmd_rcvd = true;
        // next we expect to receive the data
        HAL_I2C_Slave_Receive_IT(&hi2c1, i2c_data + 1, sizeof(int));
      }else{
        // we just received the data
        int new_vout = 0;
        new_vout |= i2c_data[1] << 24;
        new_vout |= i2c_data[2] << 16;
        new_vout |= i2c_data[3] << 8;
        new_vout |= i2c_data[4];
        target_vset_mv = CLAMP(new_vout, 0, VOUT_MAX_MV);
        i2c_cmd_rcvd = false;
        HAL_I2C_Slave_Receive_IT(&hi2c1, i2c_data, 1); // wait for a command byte
      }
      break;
    }case I2C_CMD_ENABLE_OUTPUT:{
      i2c_enabled_status = true;
      HAL_I2C_Slave_Receive_IT(&hi2c1, i2c_data, 1); // wait for a command byte
      break;
    }case I2C_CMD_DISABLE_OUTPUT:{
      i2c_enabled_status = false;
      HAL_I2C_Slave_Receive_IT(&hi2c1, i2c_data, 1); // wait for a command byte
      break;
    }default:{
      HAL_I2C_Slave_Receive_IT(&hi2c1, i2c_data, 1); // wait for a command byte
      break;
    }
  };

}

/* USER CODE END 4 */

 /**
  * @brief  Period elapsed callback in non blocking mode
  * @note   This function is called  when TIM1 interrupt took place, inside
  * HAL_TIM_IRQHandler(). It makes a direct call to HAL_IncTick() to increment
  * a global variable "uwTick" used as application time base.
  * @param  htim : TIM handle
  * @retval None
  */
void HAL_TIM_PeriodElapsedCallback(TIM_HandleTypeDef *htim)
{
  if (htim->Instance == TIM1) {
    HAL_IncTick();
  }
}

void Error_Handler(void)
{
}

/************************ (C) COPYRIGHT STMicroelectronics *****END OF FILE****/
